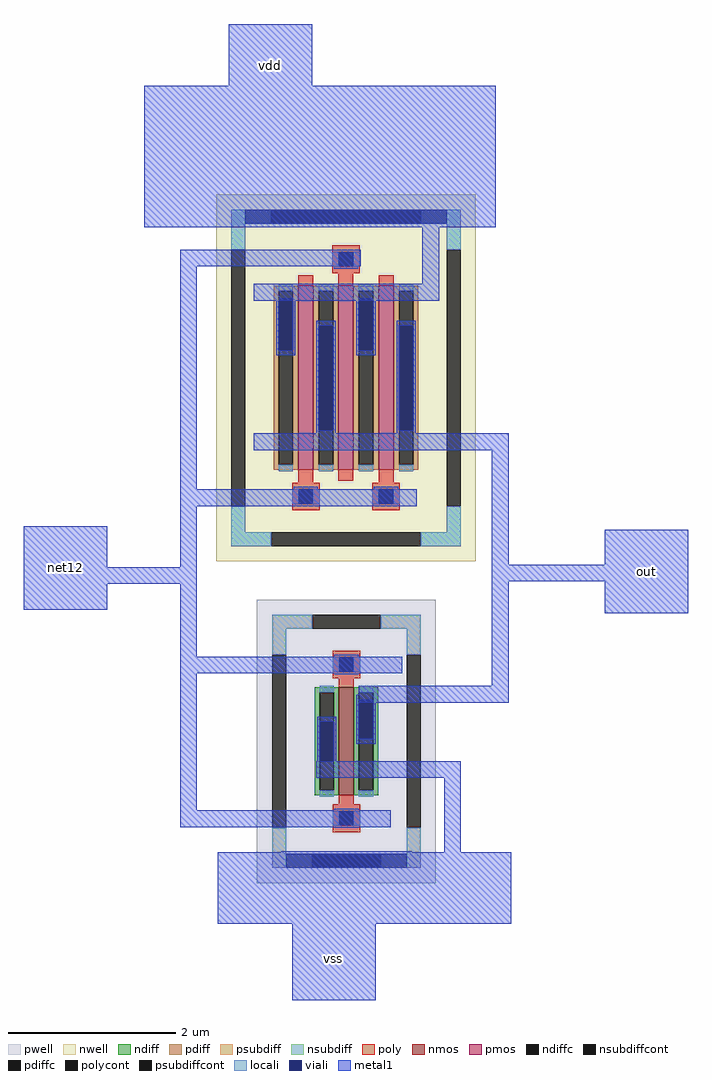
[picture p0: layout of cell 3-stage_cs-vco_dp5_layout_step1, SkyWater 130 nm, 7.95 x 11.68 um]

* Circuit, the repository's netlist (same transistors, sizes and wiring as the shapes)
* NGSPICE file created from 3-stage_cs-vco_dp5_layout_step1.ext - technology: sky130A

.subckt sky130_fd_pr__pfet_01v8_9P8X3X a_n173_n220# a_18_n220# a_114_n220# a_n129_n317#
+ a_63_n317# w_n311_n439# a_n33_251# a_n78_n220#
X0 a_114_n220# a_63_n317# a_18_n220# w_n311_n439# sky130_fd_pr__pfet_01v8 ad=6.49e+11p pd=4.99e+06u as=6.6e+11p ps=5e+06u w=2.2e+06u l=180000u
X1 a_n78_n220# a_n129_n317# a_n173_n220# w_n311_n439# sky130_fd_pr__pfet_01v8 ad=6.6e+11p pd=5e+06u as=6.49e+11p ps=4.99e+06u w=2.2e+06u l=180000u
X2 a_18_n220# a_n33_251# a_n78_n220# w_n311_n439# sky130_fd_pr__pfet_01v8 ad=0p pd=0u as=0p ps=0u w=2.2e+06u l=180000u
.ends

.subckt sky130_fd_pr__nfet_01v8_Q665WF a_n33_n217# a_n76_n129# a_18_n129# w_n214_n339#
X0 a_18_n129# a_n33_n217# a_n76_n129# w_n214_n339# sky130_fd_pr__nfet_01v8 ad=3.741e+11p pd=3.16e+06u as=3.741e+11p ps=3.16e+06u w=1.29e+06u l=180000u
.ends

.subckt x3-stage_cs-vco_dp5_layout_step1 vdd vss out net12
XXM23 vdd vdd out net12 net12 vdd net12 out sky130_fd_pr__pfet_01v8_9P8X3X
XXM24 net12 vss out vss sky130_fd_pr__nfet_01v8_Q665WF
.ends

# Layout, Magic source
magic
tech sky130A
magscale 1 2
<< metal1 >>
rect 768 1380 968 1528
rect 566 1042 1408 1380
rect 652 948 1084 988
rect 652 414 692 948
rect 1232 906 1272 1042
rect 828 866 1272 906
rect 828 508 1438 548
rect 652 374 1218 414
rect 278 228 478 326
rect 652 228 692 374
rect 278 188 692 228
rect 278 126 478 188
rect 652 14 692 188
rect 1398 234 1438 508
rect 1668 234 1868 318
rect 1398 194 1868 234
rect 652 -26 1184 14
rect 652 -354 692 -26
rect 1398 -56 1438 194
rect 1668 118 1868 194
rect 1080 -96 1438 -56
rect 978 -276 1324 -236
rect 652 -394 1156 -354
rect 1284 -454 1324 -276
rect 742 -626 1444 -454
rect 920 -808 1120 -626
use sky130_fd_pr__nfet_01v8_Q665WF  XM24
transform 1 0 1050 0 1 -189
box -214 -339 214 339
use sky130_fd_pr__pfet_01v8_9P8X3X  XM23
transform 1 0 1049 0 1 681
box -311 -439 311 439
<< labels >>
flabel metal1 768 1328 968 1528 0 FreeSans 256 0 0 0 vdd
port 0 nsew
flabel metal1 920 -808 1120 -608 0 FreeSans 256 0 0 0 vss
port 1 nsew
flabel metal1 278 126 478 326 0 FreeSans 256 0 0 0 net12
port 3 nsew
flabel metal1 1668 118 1868 318 0 FreeSans 256 0 0 0 out
port 2 nsew
<< end >>

# cell sky130_fd_pr__nfet_01v8_Q665WF: kit device sky130_fd_pr__nfet_01v8, w 1.29 l 0.18 m 1 nf 1 diffcov 100 polycov 100 guard 1 glc 1 grc 1 gtc 1 gbc 1 tbcov 100 rlcov 100 topc 1 botc 1 poverlap 0 doverlap 1 lmin 0.15 wmin 0.42 compatible {sky130_fd_pr__nfet_01v8 sky130_fd_pr__nfet_01v8_lvt sky130_fd_bs_flash__special_sonosfet_star sky130_fd_pr__nfet_g5v0d10v5 sky130_fd_pr__nfet_05v0_nvt sky130_fd_pr__nfet_03v3_nvt} full_metal 1 viasrc -40 viadrn 40 viagate 100 viagb 100 viagr 0 viagl 0 viagt 0

# cell sky130_fd_pr__pfet_01v8_9P8X3X: kit device sky130_fd_pr__pfet_01v8, w 2.1999999999999997 l 0.18 m 1 nf 3 diffcov 100 polycov 100 guard 1 glc 1 grc 1 gtc 1 gbc 1 tbcov 100 rlcov 100 topc 1 botc 1 poverlap 0 doverlap 1 lmin 0.15 wmin 0.42 compatible {sky130_fd_pr__pfet_01v8 sky130_fd_pr__pfet_01v8_lvt sky130_fd_pr__pfet_01v8_hvt sky130_fd_pr__pfet_g5v0d10v5} full_metal 1 viasrc 60 viadrn -30 viagate 100 viagb 0 viagr 0 viagl 0 viagt 100
